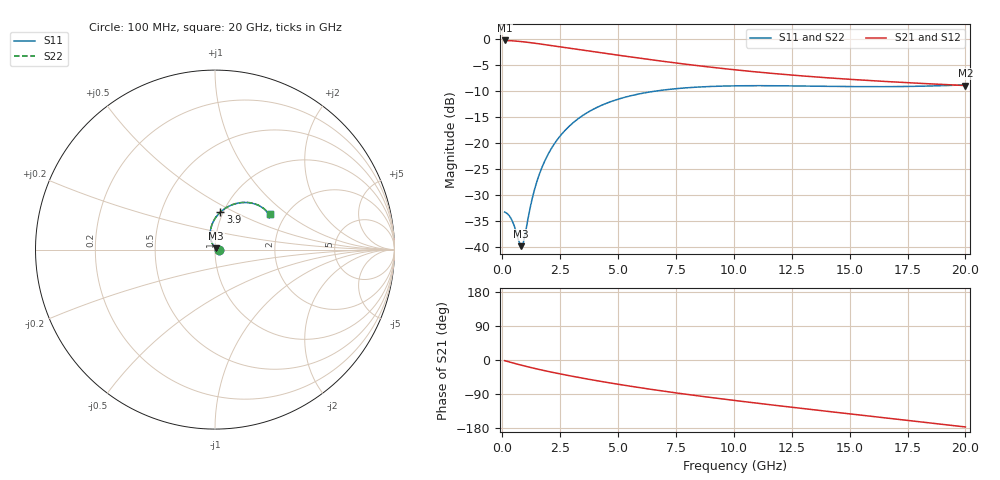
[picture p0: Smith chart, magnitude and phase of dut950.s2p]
! Touchstone file exported from HFSS 2024.1.0
!  File:  C:/UserFiles/LocalFiles/RDL_TSV_Batchsim/temp_RDL_TSV_950_1779965114.aedt
!  Generated:  06:56:57 PM May 28, 2026
!  Design:  RDL_TSV
!  Project:  temp_RDL_TSV_950_1779965114
!  Setup:  Setup1
!  Solution:  Sweep
! Variables:
!  dtsv = 12.95um
!  hbump = 3um
!  htsv = 67.8um
!  ldown = 364.54um
!  lrdl = 306.89um
!  p = 40
!  p1 = 58um
!  rhole = 10um
!  subl = 2321.18um
!  t = 450um
!  tdown = 2.11um
!  trdl = 2.51um
!  viad = 10um
!  wdown = 29.61um
!  wrdl = 11.06um
!  xbump = 18um
# GHz S MA R 50.000000
! Terminal data exported
! Port[1] = TM1_1_T1
! Port[2] = TM1_4_T1
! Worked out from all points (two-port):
!   200 points, 100 MHz to 20 GHz, reference 50 ohm
!   highest |S21| = -0.20 dB at 100 MHz (marker M1); lowest = -8.9 dB at 20 GHz (marker M2)
!   |S21| within 3 dB of the highest: start of sweep to 5.256 GHz
!   lowest |S11| = -39.9 dB at 800 MHz (marker M3), VSWR 1.02, Z = 50.7 + j0.752 ohm
!   |S11| at or under -10 dB: start of sweep to 6.575 GHz
!   |S22| runs from -39.9 to -8.7 dB; largest |S21 - S12| = 1.7e-14
!   S11 on the Smith chart (normalised r, x): 100 MHz: 1.04, +0.00; 3.9 GHz: 0.97, +0.42; 20 GHz: 1.66, +0.76
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0.1  0.02155 1.1  0.9778 -1.7  0.9778 -1.7  0.02155 1.1
! Gamma 0 0 0 0
! Port Impedance 50 0 50 0
0.3  0.01989 3.4  0.9741 -5.2  0.9741 -5.2  0.01989 3.5
0.4  0.01831 5.4  0.9712 -6.8  0.9712 -6.8  0.0183 5.4
0.5  0.01625 8.8  0.9678 -8.5  0.9678 -8.5  0.01623 8.9
0.8  0.0101 47.3  0.9546 -13.3  0.9546 -13.3  0.0101 47.5
0.9  0.01068 72.5  0.9494 -14.9  0.9494 -14.9  0.0107 72.8
1.2  0.02353 109.7  0.9321 -19.4  0.9321 -19.4  0.02362 109.8
1.4  0.0361 114.0  0.9196 -22.3  0.9196 -22.3  0.03622 114.0
1.6  0.04995 113.8  0.9067 -25.1  0.9067 -25.1  0.05011 113.9
1.9  0.07199 110.7  0.887 -29.1  0.887 -29.1  0.07219 110.8
2.2  0.09458 106.4  0.8674 -33.0  0.8674 -33.0  0.09483 106.4
2.6  0.1244 100.2  0.8418 -37.9  0.8418 -37.9  0.1247 100.3
3  0.153 94.2  0.817 -42.6  0.817 -42.6  0.1534 94.2
3.5  0.1861 87.1  0.7873 -48.3  0.7873 -48.3  0.1866 87.2
3.9  0.2102 81.9  0.7643 -52.7  0.7643 -52.7  0.2107 82.0
5.2  0.273 67.6  0.695 -66.0  0.695 -66.0  0.2736 67.6
6.8  0.3214 54.4  0.6209 -80.8  0.6209 -80.8  0.3222 54.4
8.4  0.3464 44.9  0.5597 -94.2  0.5597 -94.2  0.3473 45.0
10.1  0.3567 38.0  0.5078 -107.3  0.5078 -107.3  0.3575 38.0
13.4  0.3541 31.2  0.4368 -131.0  0.4368 -131.0  0.355 31.2
16.7  0.3502 30.8  0.3912 -153.9  0.3912 -153.9  0.351 30.9
20  0.3648 33.2  0.3589 -176.7  0.3589 -176.7  0.3657 33.2
